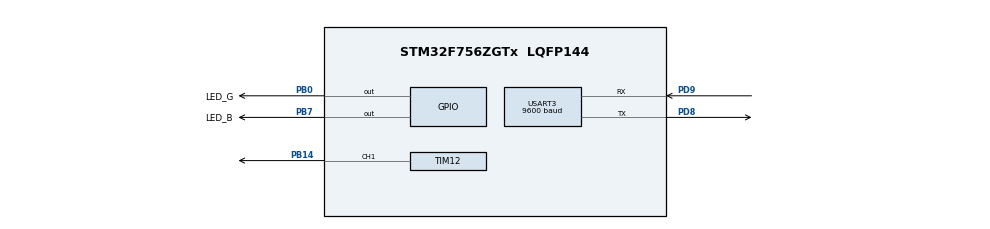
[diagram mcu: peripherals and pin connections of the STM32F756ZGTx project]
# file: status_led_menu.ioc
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Mcu.Family=STM32F7
Mcu.Name=STM32F756ZGTx
Mcu.Package=LQFP144
NVIC.PriorityGroup=NVIC_PRIORITYGROUP_4
NVIC.TIM2_IRQn=true\:0\:0\:false\:false\:true\:true\:true\:true
NVIC.TIM4_IRQn=true\:0\:0\:false\:false\:true\:true\:true\:true
PB0.GPIO_Label=LED_G
PB0.Signal=GPIO_Output
PB14.Signal=S_TIM12_CH1
PB7.GPIO_Label=LED_B
PB7.Signal=GPIO_Output
PD8.Mode=Asynchronous
PD8.Signal=USART3_TX
PD9.Mode=Asynchronous
PD9.Signal=USART3_RX
ProjectManager.HeapSize=0x200
ProjectManager.StackSize=0x400
ProjectManager.TargetToolchain=STM32CubeIDE
RCC.HSE_VALUE=25000000
RCC.HSI_VALUE=16000000
RCC.LSE_VALUE=32768
RCC.PLLM=8
RCC.PLLN=50
RCC.PLLQ=3
RCC.USBFreq_Value=33333333.333333332
RCC.VCOOutputFreq_Value=100000000
SH.S_TIM12_CH1.0=TIM12_CH1,PWM Generation1 CH1
TIM12.Channel-PWM\ Generation1\ CH1=TIM_CHANNEL_1
TIM12.Period=255
TIM12.Prescaler=10
TIM2.Period=1000-1
TIM2.Prescaler=1600-1
TIM3.Period=100
TIM3.Prescaler=10
TIM4.Period=5000-1
TIM4.Prescaler=1600-1
USART3.BaudRate=9600
USART3.VirtualMode-Asynchronous=VM_ASYNC
VP_RNG_VS_RNG.Mode=RNG_Activate
VP_TIM12_VS_ClockSourceINT.Mode=Internal
VP_TIM2_VS_ClockSourceINT.Mode=Internal
VP_TIM3_VS_ClockSourceINT.Mode=Internal
VP_TIM4_VS_ClockSourceINT.Mode=Internal
board=custom

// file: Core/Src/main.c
/* USER CODE BEGIN Header */
/**
  ******************************************************************************
  * @file           : main.c
  * @brief          : Main program body
  ******************************************************************************
  * @attention
  *
  * Copyright (c) 2023 STMicroelectronics.
  * All rights reserved.
  *
  * This software is licensed under terms that can be found in the LICENSE file
  * in the root directory of this software component.
  * If no LICENSE file comes with this software, it is provided AS-IS.
  *
  ******************************************************************************
  */
/* USER CODE END Header */
#include "main.h"

/* USER CODE BEGIN Includes */
#include "test.h"
/* USER CODE END Includes */

extern RNG_HandleTypeDef hrng;

extern TIM_HandleTypeDef htim2;
extern TIM_HandleTypeDef htim3;
extern TIM_HandleTypeDef htim4;
extern TIM_HandleTypeDef htim12;

extern UART_HandleTypeDef huart3;

/* USER CODE BEGIN PV */
uint8_t connecting=0;				//Global variables - Timer IT!!!
uint8_t normal=0;					//Global variables - Timer IT!!!
uint8_t danger=0;					//Global variables - Timer IT!!!
uint8_t on=0;						//Global variables - Timer IT!!!
uint8_t cnt=0;						//Global variables - Timer IT!!!
uint8_t pwm_red=0;					//Global variables - Timer IT!!!
/* USER CODE END PV */

void SystemClock_Config(void);
static void MX_GPIO_Init(void);
static void MX_USART3_UART_Init(void);
static void MX_TIM2_Init(void);
static void MX_TIM3_Init(void);
static void MX_TIM4_Init(void);
static void MX_TIM12_Init(void);
static void MX_RNG_Init(void);
/* USER CODE BEGIN PFP */
//******** ISR ********
void HAL_TIM_PeriodElapsedCallback(TIM_HandleTypeDef *htim)
{
	if(on)
	{
		if(htim->Instance==TIM2)
		{
			if(connecting) //100ms blinking
			{
				HAL_GPIO_TogglePin(LED_B_GPIO_Port, LED_B_Pin);
			}
			if(normal)		//500ms blinking
			{
				if(cnt==4)
				{
					cnt=0;
					HAL_GPIO_TogglePin(LED_B_GPIO_Port, LED_B_Pin);
				}
				cnt++;
			}
		}
		if(htim->Instance==TIM4)
		{	//RED LED PWM - Danger
			if(danger && (!normal))
			{
				__HAL_TIM_SET_COMPARE(&htim12, TIM_CHANNEL_1, pwm_red);
				pwm_red+=5;
			}
		}
	}
}
/* USER CODE END PFP */

int main(void)
{
  /* USER CODE BEGIN 1 */

	uint8_t c=0;
	uint8_t rng_min=20;
	uint8_t rng_max=55;
	uint8_t pwm_5=10;
	uint8_t pwm_50=40;
	uint8_t pwm_98=90;

  /* USER CODE END 1 */

  /* MCU Configuration--------------------------------------------------------*/

  /* Reset of all peripherals, Initializes the Flash interface and the Systick. */
  HAL_Init();

  /* Configure the system clock */
  SystemClock_Config();

  /* Initialize all configured peripherals */
  MX_GPIO_Init();
  MX_USART3_UART_Init();
  MX_TIM2_Init();
  MX_TIM3_Init();
  MX_TIM4_Init();
  MX_TIM12_Init();
  MX_RNG_Init();
  /* USER CODE BEGIN 2 */
  //*****MENU TRANSMIT*****
  f_menu_transmit();
  /* USER CODE END 2 */

  /* Infinite loop */
  /* USER CODE BEGIN WHILE */
  while (1)
  {
	  c=menu_command();	//Read command
	  //if(HAL_UART_Receive(&huart3, &c, sizeof(c), 10)==HAL_OK)	//1 char mode
	  //{	//1char mode
		  switch (c) {
		  	/*Menu 1 - OFF*/
			case '1':	f_off_1(&connecting, &normal, &danger, &on);
						break;
			/*Menu 8 - ON*/
			case '7':	f_on_8(&connecting, &normal, &on);
						break;
			/*Menu 2 - Connecting 100ms*/
			case '6': 	f_connecting_2(&connecting, &normal);
						break;
			/*Menu 3 - Normal 500ms*/
			case '2': 	f_normal_3(&connecting, &normal, &danger);
						break;
			/*Menu 4 - PWM 5%*/
			case '3':	f_pwm_4(pwm_5, &on);
						break;
			/*Menu 5 - PWM 50%*/
			case '4':	f_pwm_5(pwm_50, &on);
						break;
			/*Menu 6 - PWM 98%*/
			case '5': 	f_pwm_6(pwm_98, &on);
				 break;
			/*Menu 7 - DANGER!!!*/
			case '9': 	f_danger_7(&danger, &normal, &on);
						break;
			/*Menu 9 - RNG*/
			case '8': 	f_rng_9(&connecting, &normal, &danger, &on, rng_min, rng_max);
						break;
			/*Menu DEFAULT*/
			default: 	f_menu_transmit();	//transmit menu
						break;
		}
		  f_status_off(on);	//if not ON, transmit OFF
		  /*****TEST******/
		  //f_status_test(connecting, normal, danger, on);
	  //}	//1char mode
    /* USER CODE END WHILE */

  }
}

void SystemClock_Config(void)
{
  RCC_OscInitTypeDef RCC_OscInitStruct = {0};
  RCC_ClkInitTypeDef RCC_ClkInitStruct = {0};

  /** Configure the main internal regulator output voltage
  */
  __HAL_RCC_PWR_CLK_ENABLE();
  __HAL_PWR_VOLTAGESCALING_CONFIG(PWR_REGULATOR_VOLTAGE_SCALE3);

  /** Initializes the RCC Oscillators according to the specified parameters
  * in the RCC_OscInitTypeDef structure.
  */
  RCC_OscInitStruct.OscillatorType = RCC_OSCILLATORTYPE_HSI;
  RCC_OscInitStruct.HSIState = RCC_HSI_ON;
  RCC_OscInitStruct.HSICalibrationValue = RCC_HSICALIBRATION_DEFAULT;
  RCC_OscInitStruct.PLL.PLLState = RCC_PLL_ON;
  RCC_OscInitStruct.PLL.PLLSource = RCC_PLLSOURCE_HSI;
  RCC_OscInitStruct.PLL.PLLM = 8;
  RCC_OscInitStruct.PLL.PLLN = 50;
  RCC_OscInitStruct.PLL.PLLP = RCC_PLLP_DIV2;
  RCC_OscInitStruct.PLL.PLLQ = 3;
  if (HAL_RCC_OscConfig(&RCC_OscInitStruct) != HAL_OK)
  {
    Error_Handler();
  }

  /** Initializes the CPU, AHB and APB buses clocks
  */
  RCC_ClkInitStruct.ClockType = RCC_CLOCKTYPE_HCLK|RCC_CLOCKTYPE_SYSCLK
                              |RCC_CLOCKTYPE_PCLK1|RCC_CLOCKTYPE_PCLK2;
  RCC_ClkInitStruct.SYSCLKSource = RCC_SYSCLKSOURCE_HSI;
  RCC_ClkInitStruct.AHBCLKDivider = RCC_SYSCLK_DIV1;
  RCC_ClkInitStruct.APB1CLKDivider = RCC_HCLK_DIV1;
  RCC_ClkInitStruct.APB2CLKDivider = RCC_HCLK_DIV1;

  if (HAL_RCC_ClockConfig(&RCC_ClkInitStruct, FLASH_LATENCY_0) != HAL_OK)
  {
    Error_Handler();
  }
}

static void MX_RNG_Init(void)
{

  hrng.Instance = RNG;
  if (HAL_RNG_Init(&hrng) != HAL_OK)
  {
    Error_Handler();
  }

}

static void MX_TIM2_Init(void)
{

  TIM_ClockConfigTypeDef sClockSourceConfig = {0};
  TIM_MasterConfigTypeDef sMasterConfig = {0};

  htim2.Instance = TIM2;
  htim2.Init.Prescaler = 1600-1;
  htim2.Init.CounterMode = TIM_COUNTERMODE_UP;
  htim2.Init.Period = 1000-1;
  htim2.Init.ClockDivision = TIM_CLOCKDIVISION_DIV1;
  htim2.Init.AutoReloadPreload = TIM_AUTORELOAD_PRELOAD_DISABLE;
  if (HAL_TIM_Base_Init(&htim2) != HAL_OK)
  {
    Error_Handler();
  }
  sClockSourceConfig.ClockSource = TIM_CLOCKSOURCE_INTERNAL;
  if (HAL_TIM_ConfigClockSource(&htim2, &sClockSourceConfig) != HAL_OK)
  {
    Error_Handler();
  }
  sMasterConfig.MasterOutputTrigger = TIM_TRGO_RESET;
  sMasterConfig.MasterSlaveMode = TIM_MASTERSLAVEMODE_DISABLE;
  if (HAL_TIMEx_MasterConfigSynchronization(&htim2, &sMasterConfig) != HAL_OK)
  {
    Error_Handler();
  }

}

static void MX_TIM3_Init(void)
{

  TIM_ClockConfigTypeDef sClockSourceConfig = {0};
  TIM_MasterConfigTypeDef sMasterConfig = {0};

  htim3.Instance = TIM3;
  htim3.Init.Prescaler = 10;
  htim3.Init.CounterMode = TIM_COUNTERMODE_UP;
  htim3.Init.Period = 100;
  htim3.Init.ClockDivision = TIM_CLOCKDIVISION_DIV1;
  htim3.Init.AutoReloadPreload = TIM_AUTORELOAD_PRELOAD_DISABLE;
  if (HAL_TIM_Base_Init(&htim3) != HAL_OK)
  {
    Error_Handler();
  }
  sClockSourceConfig.ClockSource = TIM_CLOCKSOURCE_INTERNAL;
  if (HAL_TIM_ConfigClockSource(&htim3, &sClockSourceConfig) != HAL_OK)
  {
    Error_Handler();
  }
  sMasterConfig.MasterOutputTrigger = TIM_TRGO_RESET;
  sMasterConfig.MasterSlaveMode = TIM_MASTERSLAVEMODE_DISABLE;
  if (HAL_TIMEx_MasterConfigSynchronization(&htim3, &sMasterConfig) != HAL_OK)
  {
    Error_Handler();
  }

}

static void MX_TIM4_Init(void)
{

  TIM_ClockConfigTypeDef sClockSourceConfig = {0};
  TIM_MasterConfigTypeDef sMasterConfig = {0};

  htim4.Instance = TIM4;
  htim4.Init.Prescaler = 1600-1;
  htim4.Init.CounterMode = TIM_COUNTERMODE_UP;
  htim4.Init.Period = 5000-1;
  htim4.Init.ClockDivision = TIM_CLOCKDIVISION_DIV1;
  htim4.Init.AutoReloadPreload = TIM_AUTORELOAD_PRELOAD_DISABLE;
  if (HAL_TIM_Base_Init(&htim4) != HAL_OK)
  {
    Error_Handler();
  }
  sClockSourceConfig.ClockSource = TIM_CLOCKSOURCE_INTERNAL;
  if (HAL_TIM_ConfigClockSource(&htim4, &sClockSourceConfig) != HAL_OK)
  {
    Error_Handler();
  }
  sMasterConfig.MasterOutputTrigger = TIM_TRGO_RESET;
  sMasterConfig.MasterSlaveMode = TIM_MASTERSLAVEMODE_DISABLE;
  if (HAL_TIMEx_MasterConfigSynchronization(&htim4, &sMasterConfig) != HAL_OK)
  {
    Error_Handler();
  }

}

static void MX_TIM12_Init(void)
{

  TIM_ClockConfigTypeDef sClockSourceConfig = {0};
  TIM_OC_InitTypeDef sConfigOC = {0};

  htim12.Instance = TIM12;
  htim12.Init.Prescaler = 10;
  htim12.Init.CounterMode = TIM_COUNTERMODE_UP;
  htim12.Init.Period = 255;
  htim12.Init.ClockDivision = TIM_CLOCKDIVISION_DIV1;
  htim12.Init.AutoReloadPreload = TIM_AUTORELOAD_PRELOAD_DISABLE;
  if (HAL_TIM_Base_Init(&htim12) != HAL_OK)
  {
    Error_Handler();
  }
  sClockSourceConfig.ClockSource = TIM_CLOCKSOURCE_INTERNAL;
  if (HAL_TIM_ConfigClockSource(&htim12, &sClockSourceConfig) != HAL_OK)
  {
    Error_Handler();
  }
  if (HAL_TIM_PWM_Init(&htim12) != HAL_OK)
  {
    Error_Handler();
  }
  sConfigOC.OCMode = TIM_OCMODE_PWM1;
  sConfigOC.Pulse = 0;
  sConfigOC.OCPolarity = TIM_OCPOLARITY_HIGH;
  sConfigOC.OCFastMode = TIM_OCFAST_DISABLE;
  if (HAL_TIM_PWM_ConfigChannel(&htim12, &sConfigOC, TIM_CHANNEL_1) != HAL_OK)
  {
    Error_Handler();
  }
  HAL_TIM_MspPostInit(&htim12);

}

static void MX_USART3_UART_Init(void)
{

  huart3.Instance = USART3;
  huart3.Init.BaudRate = 9600;
  huart3.Init.WordLength = UART_WORDLENGTH_8B;
  huart3.Init.StopBits = UART_STOPBITS_1;
  huart3.Init.Parity = UART_PARITY_NONE;
  huart3.Init.Mode = UART_MODE_TX_RX;
  huart3.Init.HwFlowCtl = UART_HWCONTROL_NONE;
  huart3.Init.OverSampling = UART_OVERSAMPLING_16;
  huart3.Init.OneBitSampling = UART_ONE_BIT_SAMPLE_DISABLE;
  huart3.AdvancedInit.AdvFeatureInit = UART_ADVFEATURE_NO_INIT;
  if (HAL_UART_Init(&huart3) != HAL_OK)
  {
    Error_Handler();
  }

}

static void MX_GPIO_Init(void)
{
  GPIO_InitTypeDef GPIO_InitStruct = {0};

  /* GPIO Ports Clock Enable */
  __HAL_RCC_GPIOB_CLK_ENABLE();
  __HAL_RCC_GPIOD_CLK_ENABLE();

  /*Configure GPIO pin Output Level */
  HAL_GPIO_WritePin(GPIOB, LED_G_Pin|LED_B_Pin, GPIO_PIN_RESET);

  /*Configure GPIO pins : LED_G_Pin LED_B_Pin */
  GPIO_InitStruct.Pin = LED_G_Pin|LED_B_Pin;
  GPIO_InitStruct.Mode = GPIO_MODE_OUTPUT_PP;
  GPIO_InitStruct.Pull = GPIO_NOPULL;
  GPIO_InitStruct.Speed = GPIO_SPEED_FREQ_LOW;
  HAL_GPIO_Init(GPIOB, &GPIO_InitStruct);

}

void Error_Handler(void)
{
  __disable_irq();
  while (1)
  {
  }
}
